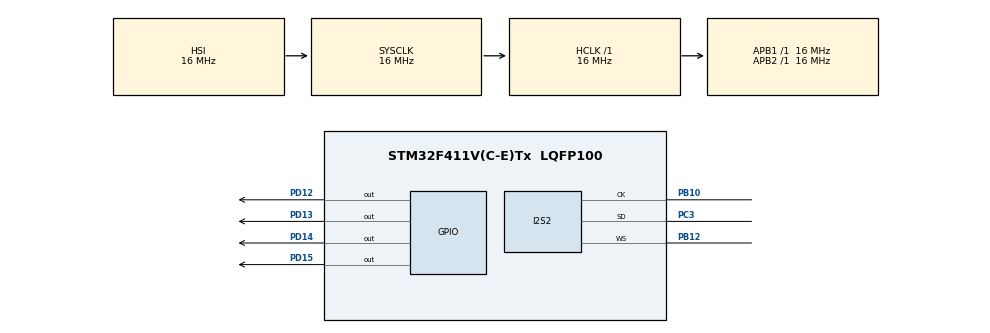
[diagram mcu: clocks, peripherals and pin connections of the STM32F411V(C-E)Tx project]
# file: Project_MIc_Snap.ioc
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Dma.Request0=SPI2_RX
Dma.SPI2_RX.0.Direction=DMA_PERIPH_TO_MEMORY
Dma.SPI2_RX.0.FIFOMode=DMA_FIFOMODE_ENABLE
Dma.SPI2_RX.0.FIFOThreshold=DMA_FIFO_THRESHOLD_3QUARTERSFULL
Dma.SPI2_RX.0.Instance=DMA1_Stream3
Dma.SPI2_RX.0.MemBurst=DMA_MBURST_SINGLE
Dma.SPI2_RX.0.MemDataAlignment=DMA_MDATAALIGN_HALFWORD
Dma.SPI2_RX.0.MemInc=DMA_MINC_ENABLE
Dma.SPI2_RX.0.Mode=DMA_CIRCULAR
Dma.SPI2_RX.0.PeriphBurst=DMA_PBURST_SINGLE
Dma.SPI2_RX.0.PeriphDataAlignment=DMA_PDATAALIGN_HALFWORD
Dma.SPI2_RX.0.PeriphInc=DMA_PINC_DISABLE
Dma.SPI2_RX.0.Priority=DMA_PRIORITY_LOW
I2S2.AudioFreq=I2S_AUDIOFREQ_16K
I2S2.ErrorAudioFreq=-0.26 %
I2S2.FullDuplexMode=I2S_FULLDUPLEXMODE_DISABLE
I2S2.Instance=SPI$Index
I2S2.Mode=I2S_MODE_MASTER_RX
I2S2.RealAudioFreq=15.957 KHz
I2S2.VirtualMode=I2S_MODE_MASTER
Mcu.Family=STM32F4
Mcu.Name=STM32F411V(C-E)Tx
Mcu.Package=LQFP100
NVIC.DMA1_Stream3_IRQn=true\:0\:0\:false\:false\:true\:false\:true\:true
NVIC.PriorityGroup=NVIC_PRIORITYGROUP_4
NVIC.SPI2_IRQn=true\:0\:0\:false\:false\:true\:true\:true\:true
PB10.Mode=Half_Duplex_Master
PB10.Signal=I2S2_CK
PB12.Mode=Half_Duplex_Master
PB12.Signal=I2S2_WS
PC3.Mode=Half_Duplex_Master
PC3.Signal=I2S2_SD
PD12.Signal=GPIO_Output
PD13.Signal=GPIO_Output
PD14.Signal=GPIO_Output
PD15.Signal=GPIO_Output
ProjectManager.HeapSize=0x200
ProjectManager.StackSize=0x400
ProjectManager.TargetToolchain=STM32CubeIDE
RCC.AHBFreq_Value=16000000
RCC.APB1Freq_Value=16000000
RCC.APB2Freq_Value=16000000
RCC.CortexFreq_Value=16000000
RCC.HSE_VALUE=25000000
RCC.HSI_VALUE=16000000
RCC.LSE_VALUE=32768
RCC.SYSCLKFreq_VALUE=16000000
RCC.VCOOutputFreq_Value=192000000
board=custom

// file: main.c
/* USER CODE BEGIN Header */
/**
  ******************************************************************************
  * @file           : main.c
  * @brief          : Main program body
  ******************************************************************************
  * @attention
  *
  * Copyright (c) 2025 STMicroelectronics.
  * All rights reserved.
  *
  * This software is licensed under terms that can be found in the LICENSE file
  * in the root directory of this software component.
  * If no LICENSE file comes with this software, it is provided AS-IS.
  *
  ******************************************************************************
  */
/* USER CODE END Header */
#include "main.h"

/* USER CODE BEGIN Includes */
#include <math.h>
/* USER CODE END Includes */

I2S_HandleTypeDef hi2s2;
DMA_HandleTypeDef hdma_spi2_rx;

/* USER CODE BEGIN PV */

#define PDM_BUFFER_SIZE 64
uint16_t pdm_buffer[PDM_BUFFER_SIZE];
/* USER CODE END PV */

void SystemClock_Config(void);
static void MX_GPIO_Init(void);
static void MX_DMA_Init(void);
static void MX_I2S2_Init(void);

int main(void)
{

  /* MCU Configuration--------------------------------------------------------*/

  /* Reset of all peripherals, Initializes the Flash interface and the Systick. */
  HAL_Init();

  /* Configure the system clock */
  SystemClock_Config();

  /* Initialize all configured peripherals */
  MX_GPIO_Init();
  MX_DMA_Init();
  MX_I2S2_Init();
  /* USER CODE BEGIN 2 */

  HAL_I2S_Receive_DMA(&hi2s2, pdm_buffer, sizeof(pdm_buffer));

  /* USER CODE END 2 */

  /* Infinite loop */
  while (1)
  {

  }
}

void SystemClock_Config(void)
{
  RCC_OscInitTypeDef RCC_OscInitStruct = {0};
  RCC_ClkInitTypeDef RCC_ClkInitStruct = {0};

  /** Macro to configure the PLL multiplication factor
  */
  __HAL_RCC_PLL_PLLM_CONFIG(16);

  /** Macro to configure the PLL clock source
  */
  __HAL_RCC_PLL_PLLSOURCE_CONFIG(RCC_PLLSOURCE_HSI);

  /** Configure the main internal regulator output voltage
  */
  __HAL_RCC_PWR_CLK_ENABLE();
  __HAL_PWR_VOLTAGESCALING_CONFIG(PWR_REGULATOR_VOLTAGE_SCALE1);

  /** Initializes the RCC Oscillators according to the specified parameters
  * in the RCC_OscInitTypeDef structure.
  */
  RCC_OscInitStruct.OscillatorType = RCC_OSCILLATORTYPE_HSI;
  RCC_OscInitStruct.HSIState = RCC_HSI_ON;
  RCC_OscInitStruct.HSICalibrationValue = RCC_HSICALIBRATION_DEFAULT;
  RCC_OscInitStruct.PLL.PLLState = RCC_PLL_NONE;
  RCC_OscInitStruct.PLL.PLLSource = RCC_PLLSOURCE_HSI;
  if (HAL_RCC_OscConfig(&RCC_OscInitStruct) != HAL_OK)
  {
    Error_Handler();
  }

  /** Initializes the CPU, AHB and APB buses clocks
  */
  RCC_ClkInitStruct.ClockType = RCC_CLOCKTYPE_HCLK|RCC_CLOCKTYPE_SYSCLK
                              |RCC_CLOCKTYPE_PCLK1|RCC_CLOCKTYPE_PCLK2;
  RCC_ClkInitStruct.SYSCLKSource = RCC_SYSCLKSOURCE_HSI;
  RCC_ClkInitStruct.AHBCLKDivider = RCC_SYSCLK_DIV1;
  RCC_ClkInitStruct.APB1CLKDivider = RCC_HCLK_DIV1;
  RCC_ClkInitStruct.APB2CLKDivider = RCC_HCLK_DIV1;

  if (HAL_RCC_ClockConfig(&RCC_ClkInitStruct, FLASH_LATENCY_0) != HAL_OK)
  {
    Error_Handler();
  }
}

static void MX_I2S2_Init(void)
{

  hi2s2.Instance = SPI2;
  hi2s2.Init.Mode = I2S_MODE_MASTER_RX;
  hi2s2.Init.Standard = I2S_STANDARD_PHILIPS;
  hi2s2.Init.DataFormat = I2S_DATAFORMAT_16B;
  hi2s2.Init.MCLKOutput = I2S_MCLKOUTPUT_DISABLE;
  hi2s2.Init.AudioFreq = I2S_AUDIOFREQ_16K;
  hi2s2.Init.CPOL = I2S_CPOL_LOW;
  hi2s2.Init.ClockSource = I2S_CLOCK_PLL;
  hi2s2.Init.FullDuplexMode = I2S_FULLDUPLEXMODE_DISABLE;
  if (HAL_I2S_Init(&hi2s2) != HAL_OK)
  {
    Error_Handler();
  }

}

static void MX_DMA_Init(void)
{

  /* DMA controller clock enable */
  __HAL_RCC_DMA1_CLK_ENABLE();

  /* DMA interrupt init */
  /* DMA1_Stream3_IRQn interrupt configuration */
  HAL_NVIC_SetPriority(DMA1_Stream3_IRQn, 0, 0);
  HAL_NVIC_EnableIRQ(DMA1_Stream3_IRQn);

}

static void MX_GPIO_Init(void)
{
  GPIO_InitTypeDef GPIO_InitStruct = {0};

  /* GPIO Ports Clock Enable */
  __HAL_RCC_GPIOC_CLK_ENABLE();
  __HAL_RCC_GPIOB_CLK_ENABLE();
  __HAL_RCC_GPIOD_CLK_ENABLE();

  /*Configure GPIO pin Output Level */
  HAL_GPIO_WritePin(GPIOD, GPIO_PIN_12|GPIO_PIN_13|GPIO_PIN_14|GPIO_PIN_15, GPIO_PIN_RESET);

  /*Configure GPIO pins : PD12 PD13 PD14 PD15 */
  GPIO_InitStruct.Pin = GPIO_PIN_12|GPIO_PIN_13|GPIO_PIN_14|GPIO_PIN_15;
  GPIO_InitStruct.Mode = GPIO_MODE_OUTPUT_PP;
  GPIO_InitStruct.Pull = GPIO_NOPULL;
  GPIO_InitStruct.Speed = GPIO_SPEED_FREQ_LOW;
  HAL_GPIO_Init(GPIOD, &GPIO_InitStruct);

}

/* USER CODE BEGIN 4 */
void HAL_I2S_RxCpltCallback(I2S_HandleTypeDef *hi2s)
{
	HAL_GPIO_WritePin(GPIOD, GPIO_PIN_12, 1);
	if (hi2s->Instance == SPI2)  // Ensure callback is for I2S2
	    {
	        uint32_t bit_count = 0;

	        for (int i = 0; i < PDM_BUFFER_SIZE; i++) {
	            bit_count += __builtin_popcount(pdm_buffer[i]);  // GCC builtin
	        }

	        if (bit_count > 800 )
	        {
	            // Turn on LED (PA5 on STM32F411E-DISCO)
	            HAL_GPIO_WritePin(GPIOD, GPIO_PIN_15, 1);
	            HAL_Delay(100);
	            HAL_GPIO_WritePin(GPIOD, GPIO_PIN_15, 0);
	        }

	        if (bit_count > 520 )
	        {
	            // Turn on LED (PA5 on STM32F411E-DISCO)
	            HAL_GPIO_WritePin(GPIOD, GPIO_PIN_14, 1);
	            HAL_Delay(100);
	            HAL_GPIO_WritePin(GPIOD, GPIO_PIN_14, 0);
	        }
	    }

    }

/* USER CODE END 4 */

void Error_Handler(void)
{
  __disable_irq();
  while (1)
  {
  }
}
